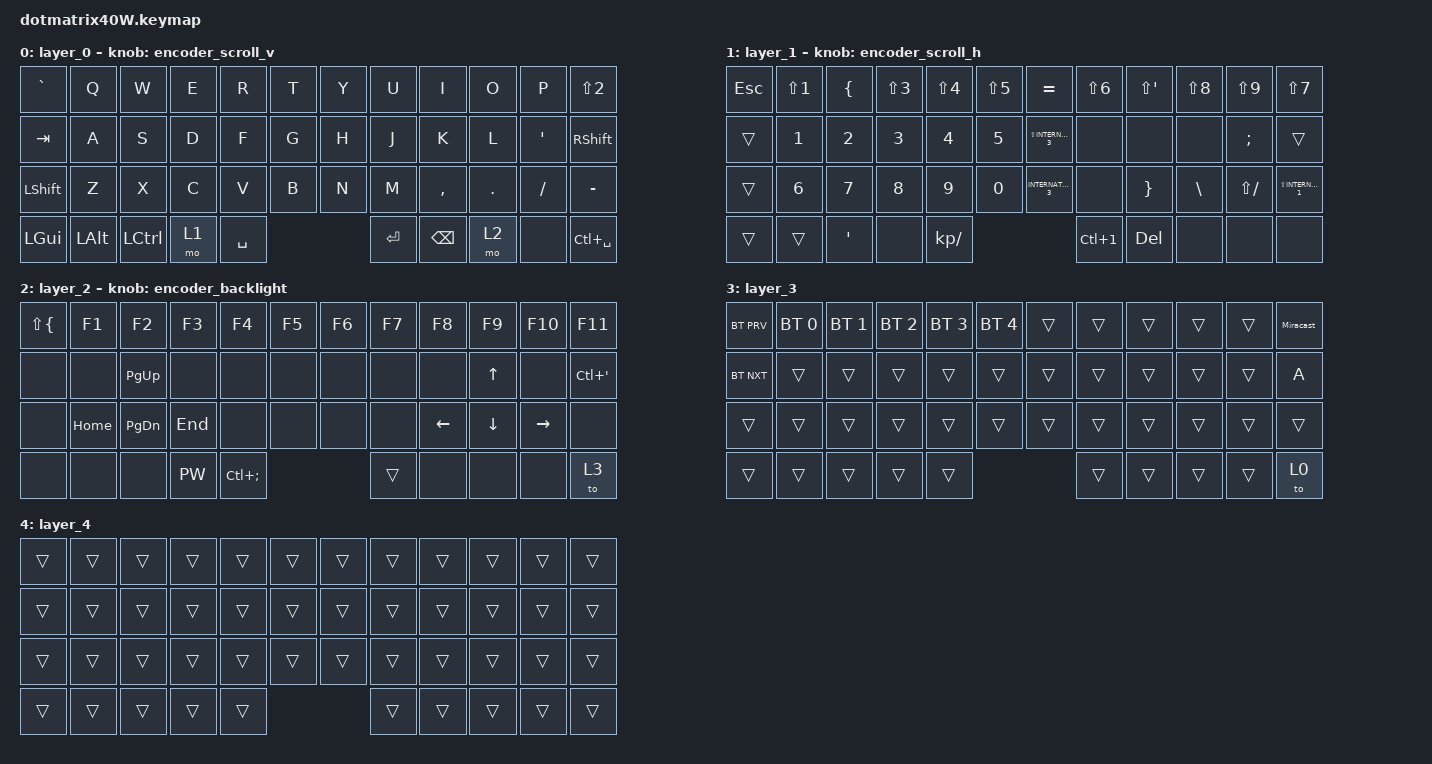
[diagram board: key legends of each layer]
/*
 * Copyright (c) 2021 Nick Winans
 *
 * SPDX-License-Identifier: MIT
 */

#include <behaviors.dtsi>
#include <dt-bindings/zmk/backlight.h>
#include <dt-bindings/zmk/bt.h>
#include <dt-bindings/zmk/keys.h>
#include <dt-bindings/zmk/pointing.h>

// JIS layout fixes for Japanese OS settings

#define JP_DQUOTE       AT                // "
#define JP_AMPERSAND    CARET             // &
#define JP_QUOTE        AMPERSAND         // '
#define JP_EQUAL        UNDER             // =
#define JP_CARET        EQUAL             // ^
#define JP_YEN          0x89              // ¥
#define JP_PLUS         COLON             // +
#define JP_TILDE        PLUS              // ~
#define JP_PIPE         LS(0x89)          // |
#define JP_AT           LEFT_BRACKET      // @
#define JP_COLON        SINGLE_QUOTE      // :
#define JP_ASTERISK     DOUBLE_QUOTES     // *
#define JP_BACKQUOTE    LEFT_BRACE        // `
#define JP_UNDERSCORE   LS(0x87)          // _
#define JP_LBRACKET     RIGHT_BRACKET     // [
#define JP_RBRACKET     BACKSLASH         // ]
#define JP_LPAREN       ASTERISK          // (
#define JP_RPAREN       LEFT_PARENTHESIS  // )
#define JP_LBRACE       RIGHT_BRACE       // {
#define JP_RBRACE       PIPE              // }
#define JP_KANA         LANGUAGE_1        // Kana
#define JP_EISU         LANGUAGE_2        // Eisu
#define JP_HANZEN       GRAVE             // Han/Zen
#define JP_BSLH         INT1              // Backslash

// Custom scroll values to ensure a single encoder click produces enough velocity

#define SCRL_UP_FAST   MOVE_Y(35)
#define SCRL_DOWN_FAST MOVE_Y(-35)
#define SCRL_LEFT_FAST MOVE_X(-35)
#define SCRL_RIGHT_FAST MOVE_X(35)

/ {
    behaviors {
        encoder_scroll_v: encoder_scroll_v {
            compatible = "zmk,behavior-sensor-rotate";
            #sensor-binding-cells = <0>;
            bindings = <&msc SCRL_DOWN_FAST>, <&msc SCRL_UP_FAST>;

            tap-ms = <50>;
        };

        encoder_scroll_h: encoder_scroll_h {
            compatible = "zmk,behavior-sensor-rotate";
            #sensor-binding-cells = <0>;
            bindings = <&msc SCRL_RIGHT_FAST>, <&msc SCRL_LEFT_FAST>;

            tap-ms = <50>;
        };

        encoder_backlight: encoder_backlight {
            compatible = "zmk,behavior-sensor-rotate";
            #sensor-binding-cells = <0>;
            bindings = <&bl BL_INC>, <&bl BL_DEC>;
        };

        encoder_arrow_v: encoder_arrow_v {
            compatible = "zmk,behavior-sensor-rotate";
            #sensor-binding-cells = <0>;
            bindings = <&kp DOWN>, <&kp UP>;
        };

        encoder_arrow_h: encoder_arrow_h {
            compatible = "zmk,behavior-sensor-rotate";
            #sensor-binding-cells = <0>;
            bindings = <&kp RIGHT>, <&kp LEFT>;
        };

        encoder_volume: encoder_volume {
            compatible = "zmk,behavior-sensor-rotate";
            #sensor-binding-cells = <0>;
            bindings = <&kp C_VOL_UP>, <&kp C_VOL_DN>;
        };

        encoder_undo_win: encoder_undo_win {
            compatible = "zmk,behavior-sensor-rotate";
            #sensor-binding-cells = <0>;
            bindings = <&kp LC(Y)>, <&kp LC(Z)>;
        };

        encoder_undo_mac: encoder_undo_mac {
            compatible = "zmk,behavior-sensor-rotate";
            #sensor-binding-cells = <0>;
            bindings = <&kp LG(LS(Z))>, <&kp LG(Z)>;
        };

        mo2: mo2 {
            compatible = "zmk,behavior-mod-morph";
            #binding-cells = <0>;
            bindings = <&kp N2>, <&kp JP_DQUOTE>;

            mods = <(MOD_LSFT|MOD_RSFT)>;
        };

        mo6: mo6 {
            compatible = "zmk,behavior-mod-morph";
            #binding-cells = <0>;
            bindings = <&kp N6>, <&kp JP_AMPERSAND>;

            mods = <(MOD_LSFT|MOD_RSFT)>;
        };

        mo7: mo7 {
            compatible = "zmk,behavior-mod-morph";
            #binding-cells = <0>;
            bindings = <&kp N7>, <&kp JP_QUOTE>;

            mods = <(MOD_LSFT|MOD_RSFT)>;
        };

        mo8: mo8 {
            compatible = "zmk,behavior-mod-morph";
            #binding-cells = <0>;
            bindings = <&kp N8>, <&kp JP_LPAREN>;

            mods = <(MOD_LSFT|MOD_RSFT)>;
        };

        mo9: mo9 {
            compatible = "zmk,behavior-mod-morph";
            #binding-cells = <0>;
            bindings = <&kp N9>, <&kp JP_RPAREN>;

            mods = <(MOD_LSFT|MOD_RSFT)>;
        };

        mo0: mo0 {
            compatible = "zmk,behavior-mod-morph";
            #binding-cells = <0>;
            bindings = <&kp N0>, <&none>;

            mods = <(MOD_LSFT|MOD_RSFT)>;
        };

        moA: moA {
            compatible = "zmk,behavior-mod-morph";
            #binding-cells = <0>;
            bindings = <&kp MINUS>, <&kp JP_EQUAL>;

            mods = <(MOD_LSFT|MOD_RSFT)>;
        };

        moB: moB {
            compatible = "zmk,behavior-mod-morph";
            #binding-cells = <0>;
            bindings = <&kp JP_CARET>, <&kp JP_TILDE>;

            mods = <(MOD_LSFT|MOD_RSFT)>;
        };

        moC: moC {
            compatible = "zmk,behavior-mod-morph";
            #binding-cells = <0>;
            bindings = <&kp INT3>, <&kp JP_PIPE>;

            mods = <(MOD_LSFT|MOD_RSFT)>;
        };

        moD: moD {
            compatible = "zmk,behavior-mod-morph";
            #binding-cells = <0>;
            bindings = <&kp JP_AT>, <&kp JP_BACKQUOTE>;

            mods = <(MOD_LSFT|MOD_RSFT)>;
        };

        moE: moE {
            compatible = "zmk,behavior-mod-morph";
            #binding-cells = <0>;
            bindings = <&kp JP_LBRACKET>, <&kp JP_LBRACE>;

            mods = <(MOD_LSFT|MOD_RSFT)>;
        };

        moF: moF {
            compatible = "zmk,behavior-mod-morph";
            #binding-cells = <0>;
            bindings = <&kp SEMI>, <&kp KP_PLUS>;

            mods = <(MOD_LSFT|MOD_RSFT)>;
        };

        moG: moG {
            compatible = "zmk,behavior-mod-morph";
            #binding-cells = <0>;
            bindings = <&kp JP_COLON>, <&kp JP_ASTERISK>;

            mods = <(MOD_LSFT|MOD_RSFT)>;
        };

        moH: moH {
            compatible = "zmk,behavior-mod-morph";
            #binding-cells = <0>;
            bindings = <&kp JP_RBRACKET>, <&kp TILDE2>;

            mods = <(MOD_LSFT|MOD_RSFT)>;
        };

        moI: moI {
            compatible = "zmk,behavior-mod-morph";
            #binding-cells = <0>;
            bindings = <&kp JP_BSLH>, <&kp JP_UNDERSCORE>;

            mods = <(MOD_LSFT|MOD_RSFT)>;
        };
    };

    macros {
        PW: PW {
            compatible = "zmk,behavior-macro";
            #binding-cells = <0>;
            bindings = <&kp LS(Z) &kp LS(A) &kp LS(Q) &kp EXCL &kp NUMBER_2 &kp W &kp S &kp X>;
            label = "PW";
        };

        Miracast: Miracast {
            compatible = "zmk,behavior-macro";
            #binding-cells = <0>;
            bindings =
                <&macro_press>,
                <&kp LEFT_GUI &kp K>,
                <&macro_release>,
                <&macro_wait_time 2>,
                <&kp TAB>,
                <&macro_wait_time 1>,
                <&kp ENTER>;

            label = "MIRACAST";
        };
    };

    keymap {
        compatible = "zmk,keymap";

        layer_0 {
            // -------------------------------------------------------------------------------------------------
            // | - / = |   Q   |   W   |   E   |   R   |   T   |   Y   |   U   |   I   |   O   |   P   | BSPC  |
            // |  TAB  |   A   |   S   |   D   |   F   |   G   |   H   |   J   |   K   |   L   | ; / + | : / * |
            // | SHIFT |   Z   |   X   |   C   |   V   |   B   |   N   |   M   | , / < | . / > |  UP   | / / ? |
            // |  L1   | CTRL  |  ALT  | EISU  |     SPACE     |     ENTER     | KANA  | LEFT  | DOWN  | RIGHT |
            // -------------------------------------------------------------------------------------------------

            bindings = <
&kp GRAVE     &kp Q         &kp W             &kp E  &kp R      &kp T  &kp Y  &kp U    &kp I          &kp O    &kp P      &kp LS(NUMBER_2)
&kp TAB       &kp A         &kp S             &kp D  &kp F      &kp G  &kp H  &kp J    &kp K          &kp L    &kp APOS   &kp RIGHT_SHIFT
&kp LSHIFT    &kp Z         &kp X             &kp C  &kp V      &kp B  &kp N  &kp M    &kp COMMA      &kp DOT  &kp SLASH  &kp MINUS
&kp LEFT_GUI  &kp LEFT_ALT  &kp LEFT_CONTROL  &mo 1  &kp SPACE                &kp RET  &kp BACKSPACE  &mo 2    &none      &kp LC(SPACE)
            >;

            sensor-bindings = <&encoder_scroll_v>;
        };

        layer_1 {
            // -------------------------------------------------------------------------------------------------
            // |  ESC  |  F10  |  F11  |  F12  | ; / + |       |       | : / * |   +   | 7 / ' | 8 / ( | 9 / ) |
            // |       |  F7   |  F8   |  F9   | [ / { |       |       | ] / } |   -   | 4 / $ | 5 / % | 6 / & |
            // |       |  F4   |  F5   |  F6   | @ / ` | ^ / ~ | \ / _ | \ / | |   *   | 1 / ! | 2 / " | 3 / # |
            // |       |  F1   |  F2   |  F3   |      L2       |      DEL      |   /   |   0   |   .   |   =   |
            // -------------------------------------------------------------------------------------------------

            bindings = <
&kp ESC  &kp LS(NUMBER_1)  &kp LEFT_BRACE  &kp LS(NUMBER_3)  &kp LS(NUMBER_4)  &kp LS(NUMBER_5)  &kp EQUAL                &kp LS(NUMBER_6)  &kp LS(APOS)     &kp LS(NUMBER_8)  &kp LS(NUMBER_9)  &kp LS(NUMBER_7)
&trans   &kp NUMBER_1      &kp NUMBER_2    &kp NUMBER_3      &kp NUMBER_4      &kp NUMBER_5      &kp LS(INTERNATIONAL_3)  &none             &none            &none             &kp SEMI          &trans
&trans   &kp NUMBER_6      &kp NUMBER_7    &kp NUMBER_8      &kp NUMBER_9      &kp NUMBER_0      &kp INTERNATIONAL_3      &none             &kp RIGHT_BRACE  &kp BACKSLASH     &kp LS(SLASH)     &kp LS(INTERNATIONAL_1)
&trans   &trans            &kp APOS        &none             &kp KP_DIVIDE                                                &kp LC(NUMBER_1)  &kp DELETE       &none             &none             &none
            >;

            sensor-bindings = <&encoder_scroll_h>;
        };

        layer_2 {
            // -------------------------------------------------------------------------------------------------
            // |       |       |       |       |       |       |       |       |       |       |       | BTCLR |
            // |       |       |       |       |       |       |       |       |       |       |       |       |
            // |       |       |       |       |       |       |       |       |       | BT 1  | BT 2  | BT 3  |
            // |       |       |       |       |               |               |       | BT 0  |       |       |
            // -------------------------------------------------------------------------------------------------

            bindings = <
&kp LS(LEFT_BRACE)  &kp F1    &kp F2         &kp F3   &kp F4        &kp F5  &kp F6  &kp F7  &kp F8    &kp F9    &kp F10    &kp F11
&none               &none     &kp PAGE_UP    &none    &none         &none   &none   &none   &none     &kp UP    &none      &kp LC(APOS)
&none               &kp HOME  &kp PAGE_DOWN  &kp END  &none         &none   &none   &none   &kp LEFT  &kp DOWN  &kp RIGHT  &none
&none               &none     &none          &PW      &kp LC(SEMI)                  &trans  &none     &none     &none      &to 3
            >;

            sensor-bindings = <&encoder_backlight>;
        };

        layer_3 {
            bindings = <
&bt BT_PRV  &bt BT_SEL 0  &bt BT_SEL 1  &bt BT_SEL 2  &bt BT_SEL 3  &bt BT_SEL 4  &trans  &trans  &trans  &trans  &trans  &Miracast
&bt BT_NXT  &trans        &trans        &trans        &trans        &trans        &trans  &trans  &trans  &trans  &trans  &kp A
&trans      &trans        &trans        &trans        &trans        &trans        &trans  &trans  &trans  &trans  &trans  &trans
&trans      &trans        &trans        &trans        &trans                              &trans  &trans  &trans  &trans  &to 0
            >;
        };

        layer_4 {
            bindings = <
&trans  &trans  &trans  &trans  &trans  &trans  &trans  &trans  &trans  &trans  &trans  &trans
&trans  &trans  &trans  &trans  &trans  &trans  &trans  &trans  &trans  &trans  &trans  &trans
&trans  &trans  &trans  &trans  &trans  &trans  &trans  &trans  &trans  &trans  &trans  &trans
&trans  &trans  &trans  &trans  &trans                  &trans  &trans  &trans  &trans  &trans
            >;
        };
    };
};

// Override msc behavior to remove acceleration and delay for immediate encoder response

&msc {
    acceleration-exponent = <0>;
    time-to-max-speed-ms = <0>;
    delay-ms = <0>;
};

// Special thanks to the following repository for reference and inspiration:
// https://github.com/kureyakey/zmk-config-zonkey
